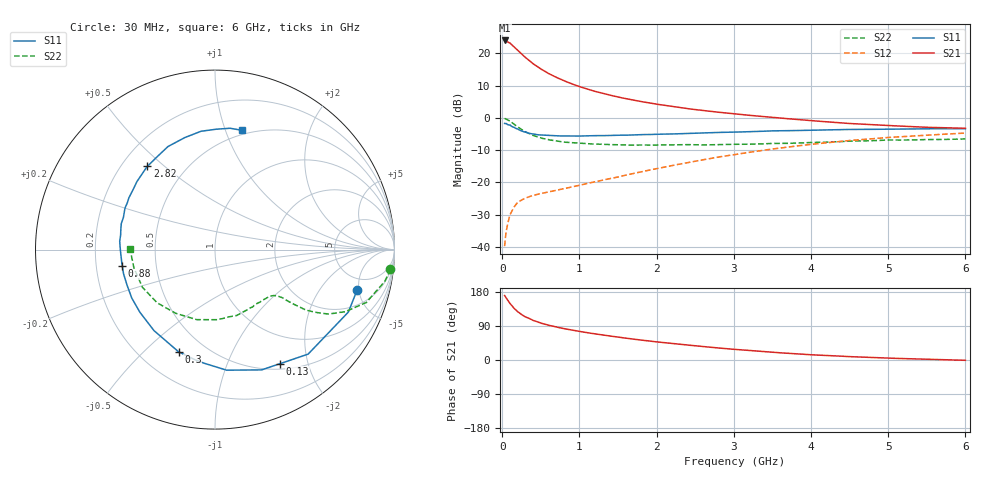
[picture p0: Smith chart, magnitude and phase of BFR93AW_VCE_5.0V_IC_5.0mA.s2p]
! Infineon Technologies  Discrete & RF Semiconductors
! BFR93AW
! VCE =  5.0 V,  IC =  5.0 mA
! Common Emitter S-Parameters:  Nov 2015
# GHz  S  MA  R  50
!  f  S11  S21  S12  S22
! GHz  MAG  ANG  MAG  ANG  MAG  ANG  MAG  ANG
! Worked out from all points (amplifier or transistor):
!   206 points, 30 MHz to 6 GHz, reference 50 ohm
!   highest |S21| = 24.0 dB at 30 MHz (marker M1)
!   |S21| within 3 dB of that: start of sweep to 197.9 MHz
!   unconditionally stable (mu >= 1): 943.9 MHz to 2.246 GHz
!   at 200 MHz: K = 0.30, MSG = 23.6 dB, |S12| = -26.1 dB
!   at 1.56 GHz: K = 1.09, MAG = 10.2 dB, |S12| = -17.9 dB
!   at 6 GHz: K = 0.93, MSG = 0.7 dB, |S12| = -4.7 dB
!   S11 on the Smith chart (normalised r, x): 30 MHz: 3.39, -4.77; 130 MHz: 0.57, -1.57; 300 MHz: 0.36, -0.64; 880 MHz: 0.31, -0.08; 2.82 GHz: 0.30, +0.44; 6 GHz: 0.46, +1.15
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0.03  0.823 -16.0  15.91 170.2  0.0103 80.3  0.9839 -6.4
0.05  0.8205 -25.1  15.69 163.5  0.0172 77.0  0.9631 -10.5
0.1  0.7799 -48.3  14.49 149.0  0.0315 67.0  0.893 -19.3
0.13  0.7317 -60.2  13.37 142.0  0.0372 61.2  0.8382 -22.9
0.15  0.7189 -68.8  12.76 136.7  0.0412 58.2  0.8037 -25.5
0.2  0.6749 -84.5  11.2 127.4  0.0493 53.1  0.727 -29.6
0.26  0.6232 -100.5  9.558 118.6  0.0542 48.6  0.65 -32.3
0.3  0.6045 -109.6  8.659 113.7  0.0573 47.3  0.61 -33.6
0.4  0.565 -127.0  6.916 104.4  0.0631 45.6  0.5357 -34.7
0.5  0.545 -140.1  5.749 97.3  0.0673 45.3  0.489 -35.3
0.6  0.5366 -149.8  4.886 91.7  0.0714 46.6  0.46 -35.6
0.68  0.5291 -156.5  4.384 88.0  0.0752 48.0  0.4438 -36.2
0.88  0.525 -169.8  3.455 79.8  0.0842 51.8  0.4159 -38.0
1.04  0.5257 -178.1  2.959 74.1  0.093 54.8  0.4023 -40.4
1.2  0.533 174.9  2.588 68.9  0.1021 57.6  0.3945 -43.1
1.5  0.5419 164.5  2.109 60.4  0.1217 61.9  0.3853 -49.3
2.02  0.5603 148.4  1.624 47.4  0.1656 65.5  0.3806 -62.1
2.82  0.5974 129.1  1.221 31.4  0.2502 64.3  0.3864 -83.6
3.1  0.6077 122.8  1.129 26.8  0.2814 62.4  0.3906 -91.6
4.1  0.649 103.3  0.891 12.9  0.4012 52.2  0.4187 -125.0
5.1  0.6722 88.1  0.754 4.3  0.5068 39.2  0.4547 -155.6
6  0.6814 77.1  0.692 -0.8  0.5835 27.7  0.4738 179.4
